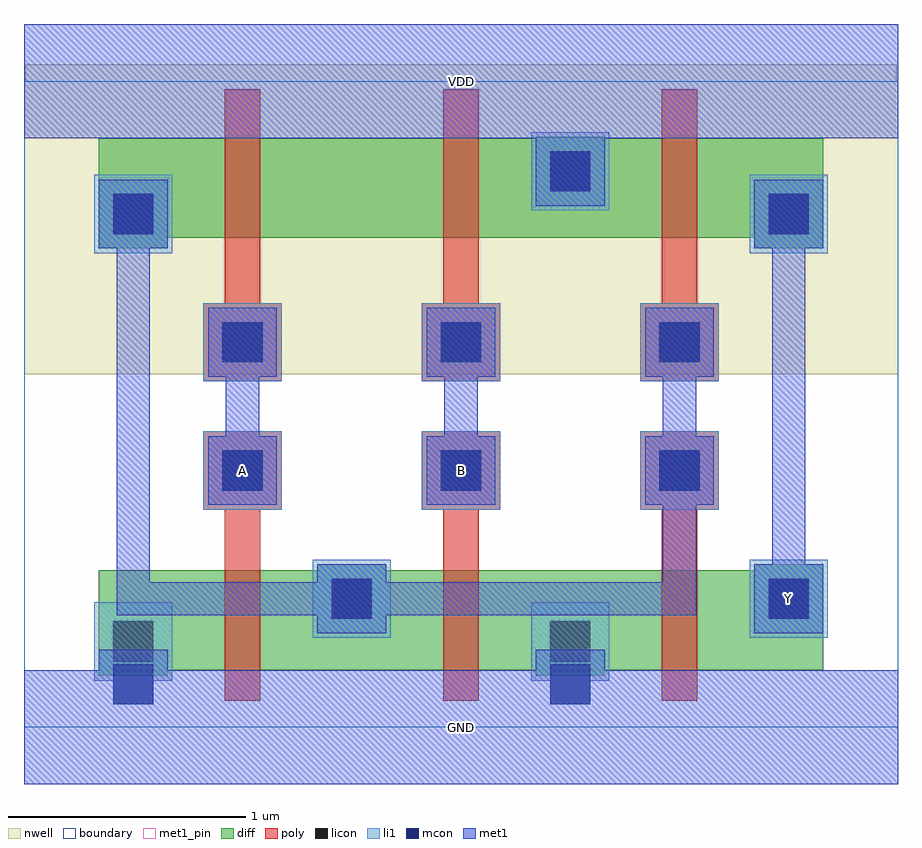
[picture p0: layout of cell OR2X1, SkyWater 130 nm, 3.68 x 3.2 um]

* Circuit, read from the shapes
.subckt OR2X1 A B GND VDD Y
XM1 n1 A GND VSUBS sky130_fd_pr__nfet_01v8 w=0.42 l=0.15
XM2 GND B n1 VSUBS sky130_fd_pr__nfet_01v8 w=0.42 l=0.15
XM3 Y n1 GND VSUBS sky130_fd_pr__nfet_01v8 w=0.42 l=0.15
XM4 n2 A n1 n3 sky130_fd_pr__pfet_01v8 w=0.42 l=0.15
XM5 VDD B n2 n3 sky130_fd_pr__pfet_01v8 w=0.42 l=0.15
XM6 Y n1 VDD n3 sky130_fd_pr__pfet_01v8 w=0.42 l=0.15
.ends

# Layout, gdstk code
import gdstk
lib = gdstk.Library(unit=1e-6, precision=1e-09)
def R(c, l, rs):  # rectangles x0, y0, x1, y1
    for r in rs: c.add(gdstk.rectangle(r[:2], r[2:], *l))
def A(c, l, x, y, w, h, nx, ny, dx, dy):  # array of equal rectangles
    R(c, l, [(x+i*dx, y+j*dy, x+i*dx+w, y+j*dy+h) for i in range(nx) for j in range(ny)])
def P(c, l, *ps):  # polygons
    for p in ps: c.add(gdstk.Polygon(p, *l))
nwell = (64, 20)
diff = (65, 20)
poly = (66, 20)
licon = (66, 44)
li1 = (67, 20)
mcon = (67, 44)
met1_pin = (68, 16)
met1 = (68, 20)
boundary = (235, 4)

or2x1 = lib.new_cell('OR2X1')
P(or2x1, nwell, [(0,1.485),(0,2.72),(0.005,2.72),(0.005,2.79),(3.675,2.79),(3.675,2.72),(3.68,2.72),(3.68,1.485)])
P(or2x1, diff, [(0.315,0.215),(0.315,0.66),(1.235,0.66),(1.235,0.685),(1.525,0.685),(1.525,0.66),(3.075,0.66),(3.075,0.685),(3.365,0.685),(3.365,0.24),(2.445,0.24),(2.445,0.215),(2.155,0.215),(2.155,0.24),(0.605,0.24),(0.605,0.215)],
  [(0.315,2.015),(0.315,2.48),(2.155,2.48),(2.155,2.485),(2.445,2.485),(2.445,2.48),(3.365,2.48),(3.365,2.015),(3.075,2.015),(3.075,2.06),(0.605,2.06),(0.605,2.015)])
P(or2x1, poly, [(0.845,0.11),(0.845,0.915),(0.755,0.915),(0.755,1.245),(1.085,1.245),(1.085,0.915),(0.995,0.915),(0.995,0.11)],
  [(1.765,0.11),(1.765,0.915),(1.675,0.915),(1.675,1.245),(2.005,1.245),(2.005,0.915),(1.915,0.915),(1.915,0.11)],
  [(2.685,0.11),(2.685,0.915),(2.595,0.915),(2.595,1.245),(2.925,1.245),(2.925,0.915),(2.835,0.915),(2.835,0.11)],
  [(0.755,1.455),(0.755,1.785),(0.845,1.785),(0.845,2.685),(0.995,2.685),(0.995,1.785),(1.085,1.785),(1.085,1.455)],
  [(1.675,1.455),(1.675,1.785),(1.765,1.785),(1.765,2.685),(1.915,2.685),(1.915,1.785),(2.005,1.785),(2.005,1.455)],
  [(2.595,1.455),(2.595,1.785),(2.685,1.785),(2.685,2.685),(2.835,2.685),(2.835,1.785),(2.925,1.785),(2.925,1.455)])
A(or2x1, licon, 0.835, 0.995, 0.17, 0.17, 3, 2, 0.92, 0.54)
R(or2x1, licon, [(0.375,0.275,0.545,0.445), (2.215,0.275,2.385,0.445), (1.295,0.455,1.465,0.625), (3.135,0.455,3.305,0.625), (0.375,2.075,0.545,2.245), (3.135,2.075,3.305,2.245), (2.215,2.255,2.385,2.425)])
A(or2x1, li1, 0.755, 0.915, 0.33, 0.33, 3, 2, 0.92, 0.54)
R(or2x1, li1, [(1.215,0.375,1.545,0.705), (3.055,0.375,3.385,0.705), (0.295,1.995,0.625,2.325), (3.055,1.995,3.385,2.325), (2.135,2.175,2.465,2.505)])
P(or2x1, li1, [(0.375,0.095),(0.375,0.195),(0.295,0.195),(0.295,0.525),(0.625,0.525),(0.625,0.195),(0.545,0.195),(0.545,0.095)],
  [(2.215,0.095),(2.215,0.195),(2.135,0.195),(2.135,0.525),(2.465,0.525),(2.465,0.195),(2.385,0.195),(2.385,0.095)])
A(or2x1, mcon, 0.835, 0.995, 0.17, 0.17, 3, 2, 0.92, 0.54)
R(or2x1, mcon, [(0.375,0.095,0.545,0.265), (2.215,0.095,2.385,0.265), (1.295,0.455,1.465,0.625), (3.135,0.455,3.305,0.625), (0.375,2.075,0.545,2.245), (3.135,2.075,3.305,2.245), (2.215,2.255,2.385,2.425)])
R(or2x1, met1_pin, [(0,-0.24,3.68,0.24), (0,2.48,3.68,2.96)])
P(or2x1, met1_pin, [(3.075,0.395),(3.075,0.685),(3.15,0.685),(3.15,2.015),(3.075,2.015),(3.075,2.305),(3.365,2.305),(3.365,2.015),(3.29,2.015),(3.29,0.685),(3.365,0.685),(3.365,0.395)],
  [(1.695,0.935),(1.695,1.225),(1.77,1.225),(1.77,1.475),(1.695,1.475),(1.695,1.765),(1.985,1.765),(1.985,1.475),(1.91,1.475),(1.91,1.225),(1.985,1.225),(1.985,0.935)],
  [(0.775,0.935),(0.775,1.225),(0.85,1.225),(0.85,1.475),(0.775,1.475),(0.775,1.765),(1.065,1.765),(1.065,1.475),(0.99,1.475),(0.99,1.225),(1.065,1.225),(1.065,0.935)])
P(or2x1, met1, [(0,-0.24),(0,0.24),(0.315,0.24),(0.315,0.325),(0.605,0.325),(0.605,0.24),(2.155,0.24),(2.155,0.325),(2.445,0.325),(2.445,0.24),(3.68,0.24),(3.68,-0.24)],
  [(0.775,0.935),(0.775,1.225),(0.85,1.225),(0.85,1.475),(0.775,1.475),(0.775,1.765),(1.065,1.765),(1.065,1.475),(0.99,1.475),(0.99,1.225),(1.065,1.225),(1.065,0.935)],
  [(1.695,0.935),(1.695,1.225),(1.77,1.225),(1.77,1.475),(1.695,1.475),(1.695,1.765),(1.985,1.765),(1.985,1.475),(1.91,1.475),(1.91,1.225),(1.985,1.225),(1.985,0.935)],
  [(1.235,0.395),(1.235,0.47),(0.39,0.47),(0.39,2.015),(0.315,2.015),(0.315,2.305),(0.605,2.305),(0.605,2.015),(0.53,2.015),(0.53,0.61),(1.235,0.61),(1.235,0.685),(1.525,0.685),(1.525,0.61),(2.69,0.61),(2.69,0.935),(2.615,0.935),(2.615,1.225),(2.69,1.225),(2.69,1.475),(2.615,1.475),(2.615,1.765),(2.905,1.765),(2.905,1.475),(2.83,1.475),(2.83,1.225),(2.905,1.225),(2.905,0.935),(2.83,0.935),(2.83,0.47),(1.525,0.47),(1.525,0.395)],
  [(3.075,0.395),(3.075,0.685),(3.15,0.685),(3.15,2.015),(3.075,2.015),(3.075,2.305),(3.365,2.305),(3.365,2.015),(3.29,2.015),(3.29,0.685),(3.365,0.685),(3.365,0.395)],
  [(2.155,2.195),(2.155,2.48),(0,2.48),(0,2.96),(3.68,2.96),(3.68,2.48),(2.445,2.48),(2.445,2.195)])
R(or2x1, boundary, [(0,0,3.68,2.72)])
or2x1.add(gdstk.Label('Y', (3.22,0.54), layer=68, texttype=5))
or2x1.add(gdstk.Label('B', (1.84,1.08), layer=68, texttype=5))
or2x1.add(gdstk.Label('A', (0.92,1.08), layer=68, texttype=5))
or2x1.add(gdstk.Label('GND', (1.84,0), layer=68, texttype=5))
or2x1.add(gdstk.Label('VDD', (1.84,2.72), layer=68, texttype=5))

lib.write_gds('OR2X1.gds')
